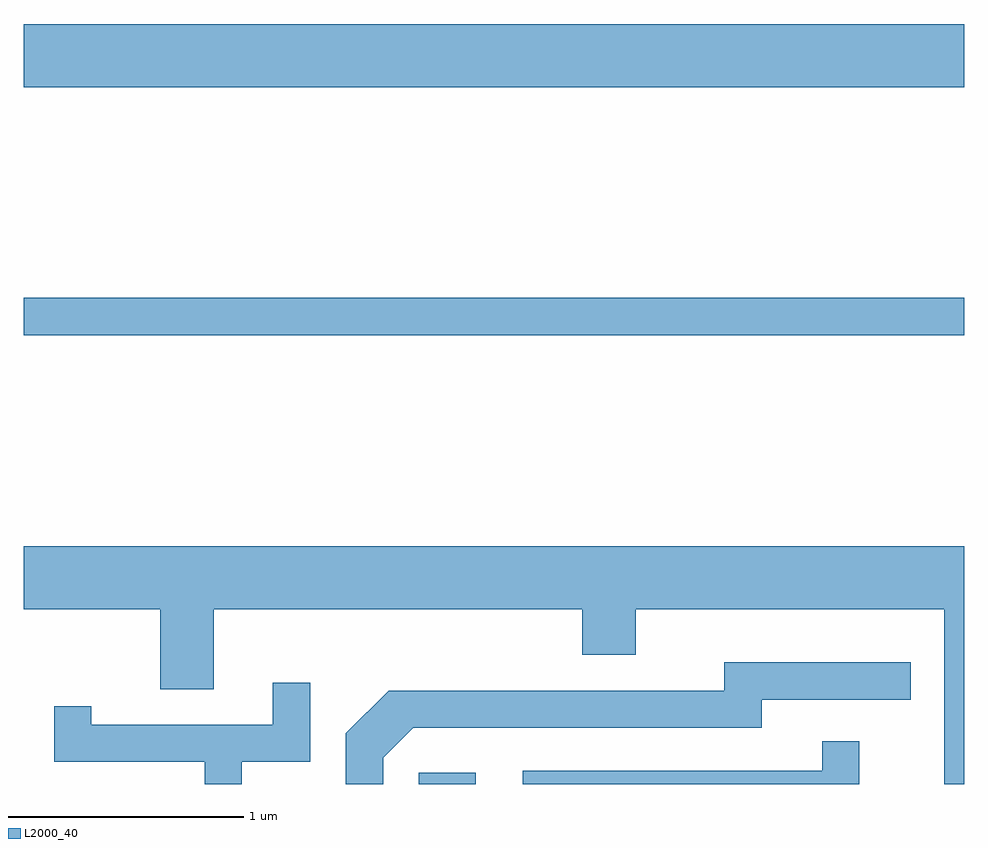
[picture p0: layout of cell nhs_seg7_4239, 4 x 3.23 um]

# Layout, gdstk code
import gdstk
lib = gdstk.Library(unit=1e-6, precision=1e-09)
def R(c, l, rs):  # rectangles x0, y0, x1, y1
    for r in rs: c.add(gdstk.rectangle(r[:2], r[2:], *l))
def P(c, l, *ps):  # polygons
    for p in ps: c.add(gdstk.Polygon(p, *l))
L2000_40 = (2000, 40)

nhs_seg7_4239 = lib.new_cell('nhs_seg7_4239')
R(nhs_seg7_4239, L2000_40, [(317.291,1700.252,317.533,1700.299), (315.611,1702.161,319.611,1702.319), (315.611,1703.216,319.611,1703.484)])
P(nhs_seg7_4239, L2000_40, [(319.611,1701.264),(315.611,1701.264),(315.611,1700.996),(316.191,1700.996),(316.191,1700.656),(316.419,1700.656),(316.419,1700.996),(317.986,1700.996),(317.986,1700.801),(318.214,1700.801),(318.214,1700.996),(319.526,1700.996),(319.526,1700.252),(319.611,1700.252)],
  [(317.139,1700.364),(317.267,1700.491),(318.749,1700.491),(318.749,1700.611),(319.383,1700.611),(319.383,1700.769),(318.591,1700.769),(318.591,1700.649),(317.164,1700.649),(316.981,1700.467),(316.981,1700.252),(317.139,1700.252)],
  [(316.539,1700.346),(316.829,1700.346),(316.829,1700.683),(316.671,1700.683),(316.671,1700.504),(315.899,1700.504),(315.899,1700.583),(315.741,1700.583),(315.741,1700.346),(316.381,1700.346),(316.381,1700.252),(316.539,1700.252)],
  [(319.164,1700.433),(319.006,1700.433),(319.006,1700.309),(317.733,1700.309),(317.733,1700.252),(319.164,1700.252)])

lib.write_gds('nhs_seg7_4239.gds')
